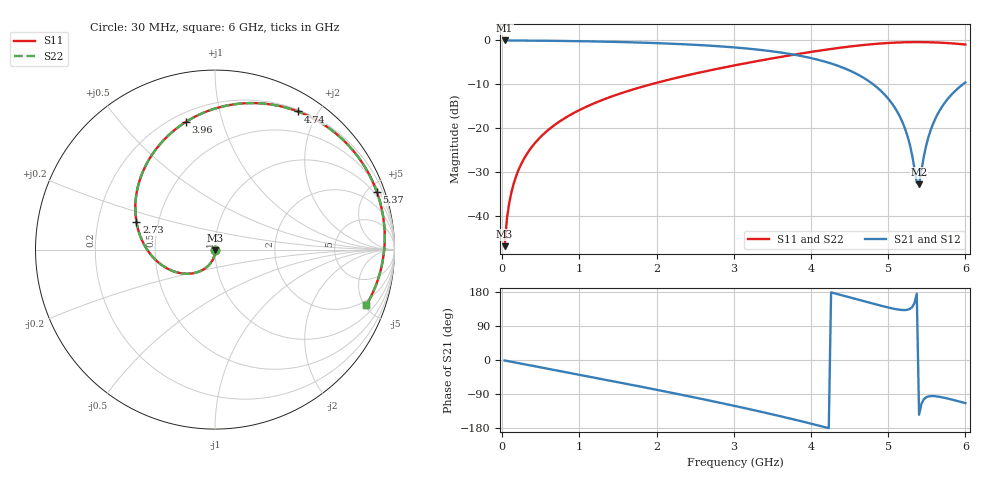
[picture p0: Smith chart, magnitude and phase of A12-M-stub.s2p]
! yapnr Order 0 O0-M: O0-M A12 STUB (stub, family M)
! stackup OSHPARK-4L-EM528, nominal parameters; geometry of the OSHPARK-4L-FR408HR design
! model: 2D quasi-static RLGC (Djordjevic-Sarkar, Huray roughness, Wheeler loss); generated by python -m yapnr.rf.coupons expected --stackup OSHPARK-4L-FR408HR --upload M
! reference planes 10 mm from each end; 50 ohm (from the M line's Zc)
# GHz S DB R 50
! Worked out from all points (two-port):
!   200 points, 30 MHz to 6 GHz, reference 50 ohm
!   highest |S21| = -0.01 dB at 30 MHz (marker M1); lowest = -32.8 dB at 5.4 GHz (marker M2)
!   |S21| within 3 dB of the highest: start of sweep to 3.699 GHz
!   lowest |S11| = -47.0 dB at 30 MHz (marker M3), VSWR 1.01, Z = 50 - j0.447 ohm
!   |S11| at or under -10 dB: start of sweep to 1.929 GHz
!   |S22| runs from -47.0 to -0.4 dB; largest |S21 - S12| = 0
!   S11 on the Smith chart (normalised r, x): 30 MHz: 1.00, -0.01; 2.73 GHz: 0.38, +0.15; 3.96 GHz: 0.25, +0.77; 4.74 GHz: 0.22, +1.75; 5.37 GHz: 0.74, +5.68; 6 GHz: 1.62, -5.17
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0.03  -46.95 -84.0  -0.01 -1.2  -0.01 -1.2  -46.95 -84.0
0.06  -40.70 -87.6  -0.01 -2.4  -0.01 -2.4  -40.70 -87.6
0.12  -34.52 -91.6  -0.01 -4.7  -0.01 -4.7  -34.52 -91.6
0.27  -27.36 -98.6  -0.03 -10.5  -0.03 -10.5  -27.36 -98.6
0.57  -20.81 -111.0  -0.07 -22.2  -0.07 -22.2  -20.81 -111.0
1.05  -15.45 -130.2  -0.18 -40.9  -0.18 -40.9  -15.45 -130.2
2.04  -9.48 -170.1  -0.64 -80.2  -0.64 -80.2  -9.48 -170.1
2.73  -6.68 160.8  -1.24 -109.0  -1.24 -109.0  -6.68 160.8
3.03  -5.62 147.5  -1.63 -122.0  -1.63 -122.0  -5.62 147.5
3.51  -4.06 125.2  -2.52 -144.0  -2.52 -144.0  -4.06 125.2
3.96  -2.73 102.8  -3.87 -166.0  -3.87 -166.0  -2.73 102.8
4.02  -2.57 99.7  -4.11 -169.0  -4.11 -169.0  -2.57 99.7
4.41  -1.59 78.3  -6.19 170.3  -6.19 170.3  -1.59 78.3
4.74  -0.94 59.0  -9.19 152.2  -9.19 152.2  -0.94 59.0
5.01  -0.57 42.5  -13.51 138.0  -13.51 138.0  -0.57 42.5
5.22  -0.41 29.2  -20.24 131.8  -20.24 131.8  -0.41 29.2
5.31  -0.39 23.5  -26.18 139.4  -26.18 139.4  -0.39 23.5
5.37  -0.38 19.6  -32.45 174.7  -32.45 174.7  -0.38 19.6
5.4  -0.38 17.7  -32.84 -144.3  -32.84 -144.3  -0.38 17.7
5.49  -0.40 12.0  -24.13 -98.6  -24.13 -98.6  -0.40 12.0
5.61  -0.46 4.3  -17.88 -95.6  -17.88 -95.6  -0.46 4.3
6  -0.93 -20.0  -9.59 -113.8  -9.59 -113.8  -0.93 -20.0
